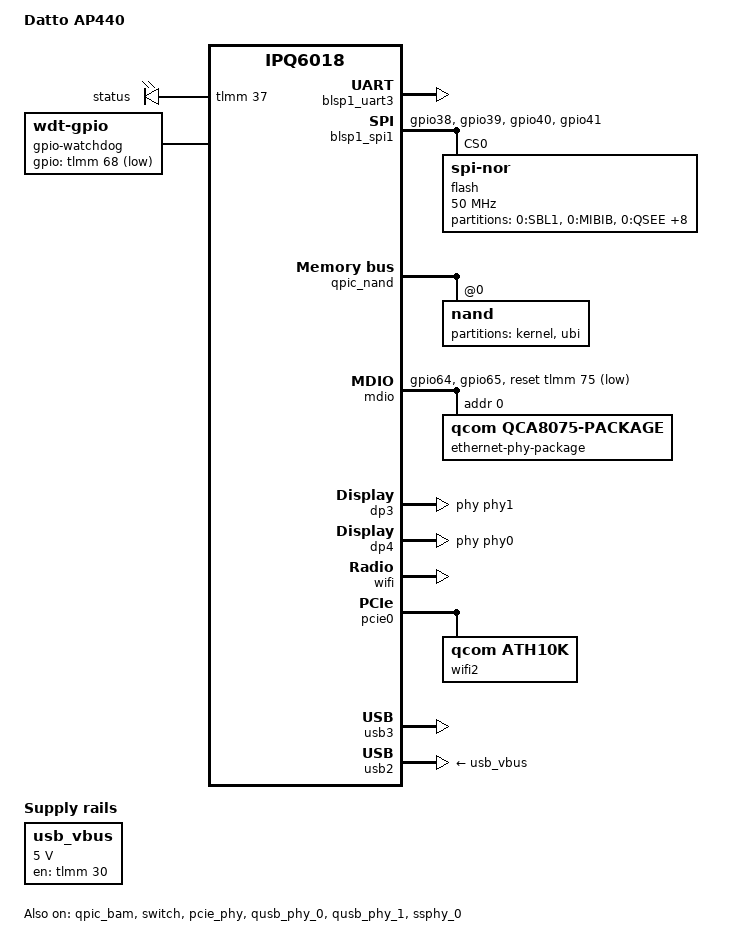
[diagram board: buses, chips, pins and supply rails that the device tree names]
// SPDX-License-Identifier: GPL-2.0-or-later OR MIT

/dts-v1/;

#include "ipq6018.dtsi"
#include "ipq6018-cp-cpu.dtsi"
#include "ipq6018-ess.dtsi"
#include <dt-bindings/gpio/gpio.h>
#include <dt-bindings/input/input.h>
#include <dt-bindings/leds/common.h>
#include <dt-bindings/net/qcom-ipq-ess.h>

/ {
	model = "Datto AP440";
	compatible = "datto,ap440", "qcom,ipq6018";

	aliases {
		serial0 = &blsp1_uart3;
		ethernet0 = &dp3;
		ethernet1 = &dp4;
		led-boot = &led_status;
		led-failsafe = &led_status;
		led-running = &led_status;
		led-upgrade = &led_status;
	};

	chosen {
		stdout-path = "serial0:115200n8";
		bootargs-append = " root=/dev/ubiblock0_1";
	};

	leds {
		compatible = "gpio-leds";
		pinctrl-0 = <&led_pins>;
		pinctrl-names = "default";

		led_status: status {
			label = "status";
			gpios = <&tlmm 37 GPIO_ACTIVE_HIGH>;
		};
	};

	gpio-watchdog {
		compatible = "linux,wdt-gpio";
		gpios = <&tlmm 68 GPIO_ACTIVE_LOW>;
		hw_algo = "toggle";
		/* hw_margin_ms is actually 300s but driver limits it to 60s */
		hw_margin_ms = <60000>;
		always-running;
	};

	usb_vbus: regulator-usb-vbus {
		compatible = "regulator-fixed";
		regulator-name = "usb_vbus";
		regulator-min-microvolt = <5000000>;
		regulator-max-microvolt = <5000000>;
		gpio = <&tlmm 30 GPIO_ACTIVE_HIGH>;
		enable-active-high;
		regulator-always-on;
		pinctrl-0 = <&usb_pins>;
		pinctrl-names = "default";
	};
};

&soc {
	watchdog@b017000 {
		status = "okay";
	};
};

&tlmm {
	mdio_pins: mdio-pins {
		mdc {
			pins = "gpio64";
			function = "mdc";
			drive-strength = <8>;
			bias-pull-up;
		};

		mdio {
			pins = "gpio65";
			function = "mdio";
			drive-strength = <8>;
			bias-pull-up;
		};
	};

	led_pins: led-pins {
		pins = "gpio37";
		function = "gpio";
		drive-strength = <8>;
		bias-pull-down;
	};

	spi_0_pins: spi-0-pins {
		pins = "gpio38", "gpio39", "gpio40", "gpio41";
		function = "blsp0_spi";
		drive-strength = <8>;
		bias-pull-down;
	};

	usb_pins: usb-pins {
		pins = "gpio30";
		function = "gpio";
		drive-strength = <8>;
		bias-pull-down;
		output-high;
	};
};

&blsp1_uart3 {
	pinctrl-0 = <&serial_3_pins>;
	pinctrl-names = "default";
	status = "okay";
};

&blsp1_spi1 {
	pinctrl-0 = <&spi_0_pins>;
	pinctrl-names = "default";
	status = "okay";

	flash@0 {
		#address-cells = <1>;
		#size-cells = <1>;
		reg = <0>;
		compatible = "jedec,spi-nor";
		spi-max-frequency = <50000000>;

		partitions {
			compatible = "fixed-partitions";
			#address-cells = <1>;
			#size-cells = <1>;

			partition@0 {
				label = "0:SBL1";
				reg = <0x0 0xc0000>;
				read-only;
			};

			partition@c0000 {
				label = "0:MIBIB";
				reg = <0xc0000 0x10000>;
				read-only;
			};

			partition@d0000 {
				label = "0:QSEE";
				reg = <0xd0000 0x1a0000>;
				read-only;
			};

			partition@270000 {
				label = "0:DEVCFG";
				reg = <0x270000 0x10000>;
				read-only;
			};

			partition@280000 {
				label = "0:RPM";
				reg = <0x280000 0x20000>;
				read-only;
			};

			partition@2a0000 {
				label = "0:CDT";
				reg = <0x2a0000 0x10000>;
				read-only;
			};

			partition@2b0000 {
				label = "0:APPSBLENV";
				reg = <0x2b0000 0x10000>;
			};

			partition@2c0000 {
				label = "0:APPSBL";
				reg = <0x2c0000 0xa0000>;
				read-only;
			};

			partition@360000 {
				label = "0:ART";
				reg = <0x360000 0x40000>;
				read-only;

				nvmem-layout {
					compatible = "fixed-layout";
					#address-cells = <1>;
					#size-cells = <1>;

					mac_base: mac@0 {
						reg = <0x0 0x6>;
					};
				};
			};

			partition@3a0000 {
				label = "datto";
				reg = <0x3a0000 0x30000>;
				read-only;
			};

			partition@3d0000 {
				label = "serial";
				reg = <0x3d0000 0x30000>;
				read-only;
			};
		};
	};
};

&qpic_bam {
	status = "okay";
};

&qpic_nand {
	status = "okay";

	nand@0 {
		reg = <0>;
		#address-cells = <1>;
		#size-cells = <1>;

		nand-ecc-strength = <4>;
		nand-ecc-step-size = <512>;
		nand-bus-width = <8>;

		partitions {
			compatible = "fixed-partitions";
			#address-cells = <1>;
			#size-cells = <1>;

			kernel@0 {
				label = "kernel";
				reg = <0x00000000 0x01000000>; /* 16 MiB */
			};

			ubi@1000000 {
				label = "ubi";
				reg = <0x01000000 0x1f000000>; /* 496 MiB */
			};
		};
	};
};

&mdio {
    status = "okay";

    pinctrl-0 = <&mdio_pins>;
    pinctrl-names = "default";
    reset-gpios = <&tlmm 75 GPIO_ACTIVE_LOW>;
    reset-delay-us = <10000>;
    reset-post-delay-us = <50000>;

    ethernet-phy-package@0 {
        #address-cells = <1>;
        #size-cells = <0>;
        compatible = "qcom,qca8075-package";
        reg = <0>;

        qcom,package-mode = "psgmii";

        phy0: ethernet-phy@3 {
            reg = <3>;
            qca,disable-smarteee;
            qca,disable-hibernation;
        };

        phy1: ethernet-phy@4 {
            reg = <4>;
            qca,disable-smarteee;
            qca,disable-hibernation;
        };
    };
};

&switch {
	status = "okay";

	switch_cpu_bmp = <ESS_PORT0>;
	switch_lan_bmp = <ESS_PORT3>;
	switch_wan_bmp = <ESS_PORT4>;
	switch_mac_mode = <MAC_MODE_PSGMII>;
	switch_mac_mode1 = <MAC_MODE_DISABLED>;
	switch_mac_mode2 = <MAC_MODE_DISABLED>;
	bm_tick_mode = <0>;
	tm_tick_mode = <0>;
	port3_pcs_channel = <4>;
	port4_pcs_channel = <3>;

	qcom,port_phyinfo {
		port@3 {
			port_id = <3>;
			phy_address = <4>;
		};
		port@4 {
			port_id = <4>;
			phy_address = <3>;
		};
	};
};

&edma {
	status = "okay";
};

&dp3 {
    status = "okay";
	phy-handle = <&phy1>;
	label = "wan";
	nvmem-cells = <&mac_base>;
	nvmem-cell-names = "mac-address";
	mac-address-increment = <1>;
};

&dp4 {
    status = "okay";
	phy-handle = <&phy0>;
	label = "lan";
	nvmem-cells = <&mac_base>;
	nvmem-cell-names = "mac-address";
};

&wifi {
	status = "okay";

	qcom,ath11k-calibration-variant = "Datto-AP440";
};

&pcie_phy {
	status = "okay";
};

&pcie0 {
	status = "okay";

	perst-gpio = <&tlmm 60 GPIO_ACTIVE_LOW>;

	bridge@0,0 {
		reg = <0x00000000 0 0 0 0>;
		#address-cells = <3>;
		#size-cells = <2>;
		ranges;

		wifi2: wifi@1,0 {
			status = "okay";
			compatible = "qcom,ath10k";
			reg = <0x00010000 0 0 0 0>;

			qcom,ath10k-calibration-variant = "Datto-AP440-FCC-indoor";
		};
	};
};

&qusb_phy_0 {
	status = "okay";
};

&qusb_phy_1 {
	status = "okay";
};

&ssphy_0 {
	status = "okay";
};

&usb3 {
	status = "okay";
};

&usb2 {
	status = "okay";
	vbus-supply = <&usb_vbus>;

	dwc_1: usb@7000000 {
		snps,nominal-elastic-buffer;
		snps,quirk-ref-clock-adjustment = <0xa87f0>;
		snps,quirk-ref-clock-period = <0x29>;
	};
};
